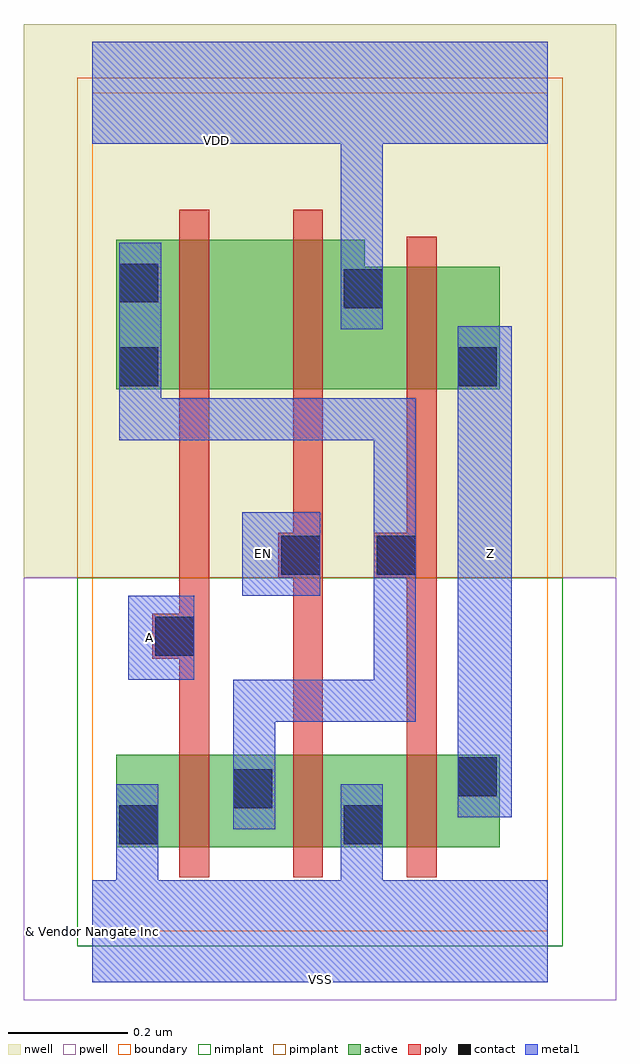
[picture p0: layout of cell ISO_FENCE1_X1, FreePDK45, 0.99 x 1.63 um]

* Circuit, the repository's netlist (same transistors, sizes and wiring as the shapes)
* 
* ******************************************************************************
* *                                                                            *
* *                   Copyright (C) 2004-2011, Nangate Inc.                    *
* *                           All rights reserved.                             *
* *                                                                            *
* * Nangate and the Nangate logo are trademarks of Nangate Inc.                *
* *                                                                            *
* * All trademarks, logos, software marks, and trade names (collectively the   *
* * "Marks") in this program are proprietary to Nangate or other respective    *
* * owners that have granted Nangate the right and license to use such Marks.  *
* * You are not permitted to use the Marks without the prior written consent   *
* * of Nangate or such third party that may own the Marks.                     *
* *                                                                            *
* * This file has been provided pursuant to a License Agreement containing     *
* * restrictions on its use. This file contains valuable trade secrets and     *
* * proprietary information of Nangate Inc., and is protected by U.S. and      *
* * international laws and/or treaties.                                        *
* *                                                                            *
* * The copyright notice(s) in this file does not indicate actual or intended  *
* * publication of this file.                                                  *
* *                                                                            *
* *     NGLibraryCreator, v2010.08-HR32-SP3-2010-08-05 - build 1009061800      *
* *                                                                            *
* ******************************************************************************
* 
* 
* Running on server08.nangate.com for user Giancarlo Franciscatto (gfr).
* Local time is now Thu, 6 Jan 2011, 19:45:46.
* Main process id is 3320.
*
********************************************************************************
*                                                                              *
* Cellname:   ISO_FENCE1_X1.                                                   *
*                                                                              *
* Technology: NCSU FreePDK 45nm.                                               *
* Format:     Cdl.                                                             *
*                                                                              *
* Written on server08.nangate.com for user Giancarlo Franciscatto (gfr)        *
* at 19:45:46 on Thu, 6 Jan 2011.                                              *
*                                                                              *
********************************************************************************
.SUBCKT ISO_FENCE1_X1 A EN Z VDD VSS 
*.PININFO A:I EN:I Z:O VDD:P VSS:G 
*.EQN Z=(A + EN)
M_i_0 net_000 A VSS VSS NMOS_VTL W=0.155000U L=0.050000U
M_i_7 VSS EN net_000 VSS NMOS_VTL W=0.155000U L=0.050000U
M_i_13 Z net_000 VSS VSS NMOS_VTL W=0.155000U L=0.050000U
M_i_19 net_001 A net_000 VDD PMOS_VTL W=0.250000U L=0.050000U
M_i_24 VDD EN net_001 VDD PMOS_VTL W=0.250000U L=0.050000U
M_i_30 Z net_000 VDD VDD PMOS_VTL W=0.205000U L=0.050000U
.ENDS 

********************************************************************************
*
* END
*
********************************************************************************

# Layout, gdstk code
import gdstk
lib = gdstk.Library(unit=1e-6, precision=1e-10)
def R(c, l, rs):  # rectangles x0, y0, x1, y1
    for r in rs: c.add(gdstk.rectangle(r[:2], r[2:], *l))
def P(c, l, *ps):  # polygons
    for p in ps: c.add(gdstk.Polygon(p, *l))
active = (1, 0)
pwell = (2, 0)
nwell = (3, 0)
nimplant = (4, 0)
pimplant = (5, 0)
poly = (9, 0)
contact = (10, 0)
metal1 = (11, 0)
boundary = (235, 0)

iso_fence1_x1 = lib.new_cell('ISO_FENCE1_X1')
R(iso_fence1_x1, active, [(0.04,0.14,0.68,0.295)])
P(iso_fence1_x1, active, [(0.04,0.905),(0.68,0.905),(0.68,1.11),(0.455,1.11),(0.455,1.155),(0.04,1.155)])
R(iso_fence1_x1, pwell, [(-0.115,-0.115,0.875,0.59)])
R(iso_fence1_x1, nwell, [(-0.115,0.59,0.875,1.515)])
R(iso_fence1_x1, nimplant, [(-0.025,-0.025,0.785,0.59)])
R(iso_fence1_x1, pimplant, [(-0.025,0.59,0.785,1.425)])
P(iso_fence1_x1, poly, [(0.1,0.455),(0.145,0.455),(0.145,0.09),(0.195,0.09),(0.195,1.205),(0.145,1.205),(0.145,0.53),(0.1,0.53)],
  [(0.31,0.59),(0.335,0.59),(0.335,0.09),(0.385,0.09),(0.385,1.205),(0.335,1.205),(0.335,0.665),(0.31,0.665)],
  [(0.47,0.59),(0.525,0.59),(0.525,0.09),(0.575,0.09),(0.575,1.16),(0.525,1.16),(0.525,0.665),(0.47,0.665)])
R(iso_fence1_x1, contact, [(0.045,0.145,0.11,0.21), (0.42,0.145,0.485,0.21), (0.235,0.205,0.3,0.27), (0.61,0.225,0.675,0.29), (0.105,0.46,0.17,0.525), (0.315,0.595,0.38,0.66), (0.475,0.595,0.54,0.66), (0.045,0.91,0.11,0.975), (0.61,0.91,0.675,0.975), (0.42,1.04,0.485,1.105), (0.045,1.05,0.11,1.115)])
R(iso_fence1_x1, metal1, [(0.61,0.19,0.7,1.01), (0.06,0.42,0.17,0.56), (0.25,0.56,0.38,0.7)])
P(iso_fence1_x1, metal1, [(0,-0.085),(0.76,-0.085),(0.76,0.085),(0.485,0.085),(0.485,0.245),(0.415,0.245),(0.415,0.085),(0.11,0.085),(0.11,0.245),(0.04,0.245),(0.04,0.085),(0,0.085)],
  [(0,1.315),(0.415,1.315),(0.415,1.005),(0.485,1.005),(0.485,1.315),(0.76,1.315),(0.76,1.485),(0,1.485)],
  [(0.045,0.82),(0.47,0.82),(0.47,0.42),(0.235,0.42),(0.235,0.17),(0.305,0.17),(0.305,0.35),(0.54,0.35),(0.54,0.89),(0.115,0.89),(0.115,1.15),(0.045,1.15)])
R(iso_fence1_x1, boundary, [(0,0,0.76,1.4)])
iso_fence1_x1.add(gdstk.Label('A', (0.095,0.49), layer=11, texttype=0))
iso_fence1_x1.add(gdstk.Label('EN', (0.285,0.63), layer=11, texttype=0))
iso_fence1_x1.add(gdstk.Label('VDD', (0.2075,1.32), layer=11, texttype=0))
iso_fence1_x1.add(gdstk.Label('VSS', (0.38,-0.08), layer=11, texttype=0))
iso_fence1_x1.add(gdstk.Label('Z', (0.665,0.63), layer=11, texttype=0))
iso_fence1_x1.add(gdstk.Label('& Vendor Nangate Inc', (0,0), layer=63, texttype=63))
iso_fence1_x1.add(gdstk.Label('& Product Open Cell Library', (0,0), layer=63, texttype=63))
iso_fence1_x1.add(gdstk.Label('& Version 2010_12', (0,0), layer=63, texttype=63))
iso_fence1_x1.add(gdstk.Label('& Instance ISO_FENCE1_X1', (0,0), layer=63, texttype=63))

lib.write_gds('ISO_FENCE1_X1.gds')
